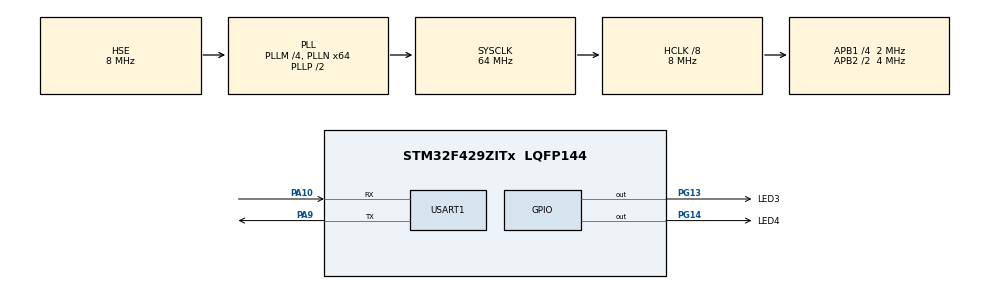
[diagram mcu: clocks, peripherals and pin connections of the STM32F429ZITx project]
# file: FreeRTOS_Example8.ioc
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FREERTOS.Tasks01=defaultTask,0,128,StartDefaultTask,Default,NULL,Dynamic,NULL,NULL
Mcu.Family=STM32F4
Mcu.Name=STM32F429ZITx
Mcu.Package=LQFP144
NVIC.PriorityGroup=NVIC_PRIORITYGROUP_4
NVIC.TIM6_DAC_IRQn=true\:0\:0\:false\:false\:true\:false\:false\:true
NVIC.TimeBase=TIM6_DAC_IRQn
NVIC.TimeBaseIP=TIM6
PA10.Mode=Asynchronous
PA10.Signal=USART1_RX
PA13.Mode=Trace_Asynchronous_SW
PA13.Signal=SYS_JTMS-SWDIO
PA14.Mode=Trace_Asynchronous_SW
PA14.Signal=SYS_JTCK-SWCLK
PA9.Mode=Asynchronous
PA9.Signal=USART1_TX
PB3.Mode=Trace_Asynchronous_SW
PB3.Signal=SYS_JTDO-SWO
PG13.GPIO_Label=LED3
PG13.Signal=GPIO_Output
PG14.GPIO_Label=LED4
PG14.Signal=GPIO_Output
PH0/OSC_IN.Mode=HSE-External-Oscillator
PH0/OSC_IN.Signal=RCC_OSC_IN
PH1/OSC_OUT.Mode=HSE-External-Oscillator
PH1/OSC_OUT.Signal=RCC_OSC_OUT
ProjectManager.HeapSize=0x200
ProjectManager.StackSize=0x400
ProjectManager.TargetToolchain=TrueSTUDIO
RCC.48MHZClocksFreq_Value=32000000
RCC.AHBCLKDivider=RCC_SYSCLK_DIV8
RCC.AHBFreq_Value=8000000
RCC.APB1CLKDivider=RCC_HCLK_DIV4
RCC.APB1Freq_Value=2000000
RCC.APB1TimFreq_Value=4000000
RCC.APB2CLKDivider=RCC_HCLK_DIV2
RCC.APB2Freq_Value=4000000
RCC.APB2TimFreq_Value=8000000
RCC.CortexFreq_Value=8000000
RCC.HCLKFreq_Value=8000000
RCC.HSE_VALUE=8000000
RCC.HSI_VALUE=16000000
RCC.LSE_VALUE=32768
RCC.PLLM=4
RCC.PLLN=64
RCC.PLLSourceVirtual=RCC_PLLSOURCE_HSE
RCC.SYSCLKFreq_VALUE=64000000
RCC.SYSCLKSource=RCC_SYSCLKSOURCE_PLLCLK
RCC.VCOOutputFreq_Value=128000000
USART1.VirtualMode=VM_ASYNC
VP_FREERTOS_VS_CMSIS_V1.Mode=CMSIS_V1
VP_SYS_VS_tim6.Mode=TIM6
board=custom

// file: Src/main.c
/* USER CODE BEGIN Header */
/**
  ******************************************************************************
  * @file           : main.c
  * @brief          : Main program body
  ******************************************************************************
  * @attention
  *
  * <h2><center>&copy; Copyright (c) 2019 STMicroelectronics.
  * All rights reserved.</center></h2>
  *
  * This software component is licensed by ST under Ultimate Liberty license
  * SLA0044, the "License"; You may not use this file except in compliance with
  * the License. You may obtain a copy of the License at:
  *                             www.st.com/SLA0044
  *
  ******************************************************************************
  */
/* USER CODE END Header */

#include "main.h"
#include "cmsis_os.h"

/* USER CODE BEGIN Includes */
#include <stdio.h>
#include <string.h>
/* USER CODE END Includes */

/* USER CODE BEGIN PD */
#define mainDELAY_LOOP_COUNT    (10)

/* USER CODE END PD */

osThreadId defaultTaskHandle;

void SystemClock_Config(void);
static void MX_GPIO_Init(void);
static void MX_USART1_UART_Init(void);
void StartDefaultTask(void const * argument);

/* USER CODE BEGIN 0 */
void vTask1(void* pvParameters);
void vTask2(void* pvParameters);

xTaskHandle xTask2Handle;
/* USER CODE END 0 */

int main(void)
{

  /* MCU Configuration--------------------------------------------------------*/

  /* Reset of all peripherals, Initializes the Flash interface and the Systick. */
  HAL_Init();

  /* Configure the system clock */
  SystemClock_Config();

  /* Initialize all configured peripherals */
  MX_GPIO_Init();
  MX_USART1_UART_Init();

  /* Create the thread(s) */
  /* definition and creation of defaultTask */
  osThreadDef(defaultTask, StartDefaultTask, osPriorityNormal, 0, 128);
  defaultTaskHandle = osThreadCreate(osThread(defaultTask), NULL);

  /* USER CODE BEGIN RTOS_THREADS */
  /* add threads, ... */
  xTaskCreate(vTask1, "Task1", 1000, NULL, 2, NULL); 					// Priority2
  xTaskCreate(vTask2, "Task2", 1000, NULL, 1, &xTask2Handle); // Priority1
  /* USER CODE END RTOS_THREADS */

  /* Start scheduler */
  osKernelStart();

  /* We should never get here as control is now taken by the scheduler */

  /* Infinite loop */
  while (1)
  {

  }
}

void SystemClock_Config(void)
{
  RCC_OscInitTypeDef RCC_OscInitStruct = {0};
  RCC_ClkInitTypeDef RCC_ClkInitStruct = {0};

  /** Configure the main internal regulator output voltage
  */
  __HAL_RCC_PWR_CLK_ENABLE();
  __HAL_PWR_VOLTAGESCALING_CONFIG(PWR_REGULATOR_VOLTAGE_SCALE3);
  /** Initializes the CPU, AHB and APB busses clocks
  */
  RCC_OscInitStruct.OscillatorType = RCC_OSCILLATORTYPE_HSE;
  RCC_OscInitStruct.HSEState = RCC_HSE_ON;
  RCC_OscInitStruct.PLL.PLLState = RCC_PLL_ON;
  RCC_OscInitStruct.PLL.PLLSource = RCC_PLLSOURCE_HSE;
  RCC_OscInitStruct.PLL.PLLM = 4;
  RCC_OscInitStruct.PLL.PLLN = 64;
  RCC_OscInitStruct.PLL.PLLP = RCC_PLLP_DIV2;
  RCC_OscInitStruct.PLL.PLLQ = 4;
  if (HAL_RCC_OscConfig(&RCC_OscInitStruct) != HAL_OK)
  {
    Error_Handler();
  }
  /** Initializes the CPU, AHB and APB busses clocks
  */
  RCC_ClkInitStruct.ClockType = RCC_CLOCKTYPE_HCLK|RCC_CLOCKTYPE_SYSCLK
                              |RCC_CLOCKTYPE_PCLK1|RCC_CLOCKTYPE_PCLK2;
  RCC_ClkInitStruct.SYSCLKSource = RCC_SYSCLKSOURCE_PLLCLK;
  RCC_ClkInitStruct.AHBCLKDivider = RCC_SYSCLK_DIV8;
  RCC_ClkInitStruct.APB1CLKDivider = RCC_HCLK_DIV4;
  RCC_ClkInitStruct.APB2CLKDivider = RCC_HCLK_DIV2;

  if (HAL_RCC_ClockConfig(&RCC_ClkInitStruct, FLASH_LATENCY_0) != HAL_OK)
  {
    Error_Handler();
  }
}

static void MX_USART1_UART_Init(void)
{

  LL_USART_InitTypeDef USART_InitStruct = {0};

  LL_GPIO_InitTypeDef GPIO_InitStruct = {0};

  /* Peripheral clock enable */
  LL_APB2_GRP1_EnableClock(LL_APB2_GRP1_PERIPH_USART1);

  LL_AHB1_GRP1_EnableClock(LL_AHB1_GRP1_PERIPH_GPIOA);
  /**USART1 GPIO Configuration
  PA9   ------> USART1_TX
  PA10   ------> USART1_RX
  */
  GPIO_InitStruct.Pin = LL_GPIO_PIN_9|LL_GPIO_PIN_10;
  GPIO_InitStruct.Mode = LL_GPIO_MODE_ALTERNATE;
  GPIO_InitStruct.Speed = LL_GPIO_SPEED_FREQ_VERY_HIGH;
  GPIO_InitStruct.OutputType = LL_GPIO_OUTPUT_PUSHPULL;
  GPIO_InitStruct.Pull = LL_GPIO_PULL_UP;
  GPIO_InitStruct.Alternate = LL_GPIO_AF_7;
  LL_GPIO_Init(GPIOA, &GPIO_InitStruct);

  USART_InitStruct.BaudRate = 115200;
  USART_InitStruct.DataWidth = LL_USART_DATAWIDTH_8B;
  USART_InitStruct.StopBits = LL_USART_STOPBITS_1;
  USART_InitStruct.Parity = LL_USART_PARITY_NONE;
  USART_InitStruct.TransferDirection = LL_USART_DIRECTION_TX_RX;
  USART_InitStruct.HardwareFlowControl = LL_USART_HWCONTROL_NONE;
  USART_InitStruct.OverSampling = LL_USART_OVERSAMPLING_16;
  LL_USART_Init(USART1, &USART_InitStruct);
  LL_USART_ConfigAsyncMode(USART1);
  LL_USART_Enable(USART1);

}

static void MX_GPIO_Init(void)
{
  GPIO_InitTypeDef GPIO_InitStruct = {0};

  /* GPIO Ports Clock Enable */
  __HAL_RCC_GPIOH_CLK_ENABLE();
  __HAL_RCC_GPIOA_CLK_ENABLE();
  __HAL_RCC_GPIOG_CLK_ENABLE();
  __HAL_RCC_GPIOB_CLK_ENABLE();

  /*Configure GPIO pin Output Level */
  HAL_GPIO_WritePin(GPIOG, LED3_Pin|LED4_Pin, GPIO_PIN_RESET);

  /*Configure GPIO pins : LED3_Pin LED4_Pin */
  GPIO_InitStruct.Pin = LED3_Pin|LED4_Pin;
  GPIO_InitStruct.Mode = GPIO_MODE_OUTPUT_PP;
  GPIO_InitStruct.Pull = GPIO_NOPULL;
  GPIO_InitStruct.Speed = GPIO_SPEED_FREQ_LOW;
  HAL_GPIO_Init(GPIOG, &GPIO_InitStruct);

}

/* USER CODE BEGIN 4 */
void vPrintString(char *pStr)
{
    while(*pStr){
        while(!LL_USART_IsActiveFlag_TXE(USART1));
        LL_USART_TransmitData8(USART1, *pStr);
        pStr++;
    }
}

void vTask1(void *pvParameters)
{

	unsigned portBASE_TYPE uxPriority;

	uxPriority = uxTaskPriorityGet(NULL);

    for(;;)
    {
    	HAL_GPIO_WritePin(LED3_GPIO_Port, LED3_Pin, GPIO_PIN_SET);

    	vPrintString("Task 1 is running  \r\n");
    	vPrintString(" About to raise the Task 2 priority \r\n");

			vTaskPrioritySet(xTask2Handle, (uxPriority + 1));
    	//vTaskDelay( 250 / portTICK_RATE_MS );

      HAL_GPIO_WritePin(LED3_GPIO_Port, LED3_Pin, GPIO_PIN_RESET);
    }
}

void vTask2(void *pvParameters)
{

	unsigned portBASE_TYPE uxPriority;

	uxPriority = uxTaskPriorityGet(NULL);

    for(;;)
    {
    	HAL_GPIO_WritePin(LED4_GPIO_Port, LED4_Pin, GPIO_PIN_SET);

    	vPrintString("Task 2 is running  \r\n");
    	vPrintString(" About to lower the the Task 2 priority \r\n");

			vTaskPrioritySet(NULL, (uxPriority -2));
			//vTaskDelay( 250 / portTICK_RATE_MS );

      HAL_GPIO_WritePin(LED4_GPIO_Port, LED4_Pin, GPIO_PIN_RESET);
    }
}

/* USER CODE END 4 */

void StartDefaultTask(void const * argument)
{

  for(;;)
  {
    osDelay(1);
  }
}

void HAL_TIM_PeriodElapsedCallback(TIM_HandleTypeDef *htim)
{
  if (htim->Instance == TIM6) {
    HAL_IncTick();
  }
}

void Error_Handler(void)
{
}

/************************ (C) COPYRIGHT STMicroelectronics *****END OF FILE****/
